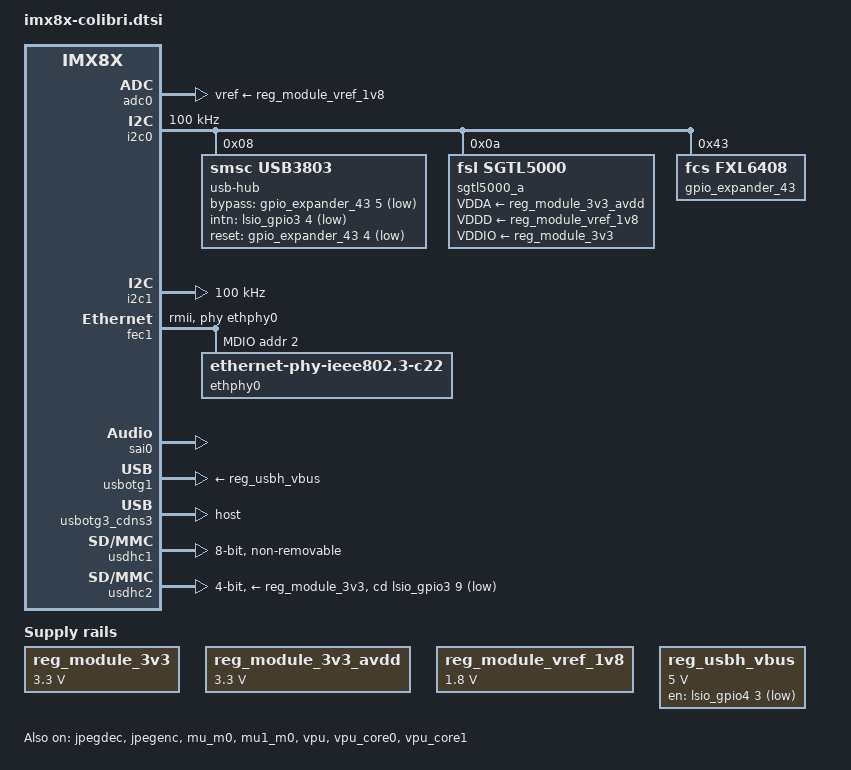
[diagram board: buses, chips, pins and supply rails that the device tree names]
// SPDX-License-Identifier: GPL-2.0-or-later OR MIT
/*
 * Copyright 2019 Toradex
 */

/ {
	chosen {
		stdout-path = &lpuart3;
	};

	colibri_gpio_keys: gpio-keys {
		compatible = "gpio-keys";
		pinctrl-names = "default";
		pinctrl-0 = <&pinctrl_gpiokeys>;
		status = "disabled";

		key-wakeup {
			debounce-interval = <10>;
			gpios = <&lsio_gpio3 10 GPIO_ACTIVE_HIGH>;
			label = "Wake-Up";
			linux,code = <KEY_WAKEUP>;
			wakeup-source;
		};
	};

	extcon_usbc_det: usbc-det {
		compatible = "linux,extcon-usb-gpio";
		pinctrl-names = "default";
		pinctrl-0 = <&pinctrl_usbc_det>;
		id-gpios = <&lsio_gpio5 9 GPIO_ACTIVE_HIGH>;
		status = "disabled";
	};

	reg_module_3v3: regulator-module-3v3 {
		compatible = "regulator-fixed";
		regulator-name = "+V3.3";
		regulator-min-microvolt = <3300000>;
		regulator-max-microvolt = <3300000>;
	};

	reg_module_3v3_avdd: regulator-module-3v3-avdd {
		compatible = "regulator-fixed";
		regulator-max-microvolt = <3300000>;
		regulator-min-microvolt = <3300000>;
		regulator-name = "+V3.3_AVDD_AUDIO";
	};

	reg_module_vref_1v8: regulator-module-vref-1v8 {
		compatible = "regulator-fixed";
		regulator-max-microvolt = <1800000>;
		regulator-min-microvolt = <1800000>;
		regulator-name = "vref-1v8";
	};

	reg_usbh_vbus: regulator-usbh-vbus {
		compatible = "regulator-fixed";
		pinctrl-names = "default";
		pinctrl-0 = <&pinctrl_usbh1_reg>;
		gpio = <&lsio_gpio4 3 GPIO_ACTIVE_LOW>;
		regulator-always-on;
		regulator-max-microvolt = <5000000>;
		regulator-min-microvolt = <5000000>;
		regulator-name = "usbh_vbus";
	};

	sound-card {
		compatible = "simple-audio-card";
		simple-audio-card,bitclock-master = <&dailink_master>;
		simple-audio-card,format = "i2s";
		simple-audio-card,frame-master = <&dailink_master>;
		simple-audio-card,name = "colibri-imx8x";

		dailink_master: simple-audio-card,codec {
			clocks = <&mclkout0_lpcg IMX_LPCG_CLK_0>;
			sound-dai = <&sgtl5000_a>;
		};

		simple-audio-card,cpu {
			sound-dai = <&sai0>;
		};
	};
};

/* Colibri Analogue Inputs */
&adc0 {
	pinctrl-names = "default";
	pinctrl-0 = <&pinctrl_adc0>;
	vref-supply = <&reg_module_vref_1v8>;
};

/* Colibri PWM_A */
&adma_pwm {
	pinctrl-names = "default";
	pinctrl-0 = <&pinctrl_pwm_a>;
};

&cpu_alert0 {
	hysteresis = <2000>;
	temperature = <90000>;
	type = "passive";
};

&cpu_crit0 {
	hysteresis = <2000>;
	temperature = <105000>;
	type = "critical";
};

&enet0_lpcg {
	clocks = <&clk IMX_SC_R_ENET_0 IMX_SC_PM_CLK_PER>,
		 <&clk IMX_SC_R_ENET_0 IMX_SC_PM_CLK_PER>,
		 <&conn_axi_clk>,
		 <&clk IMX_SC_R_ENET_0 IMX_SC_C_DISABLE_50>,
		 <&conn_ipg_clk>,
		 <&conn_ipg_clk>;
	clock-output-names = "enet0_lpcg_timer_clk",
			     "enet0_lpcg_txc_sampling_clk",
			     "enet0_lpcg_ahb_clk",
			     "enet0_lpcg_ref_50mhz_clk",
			     "enet0_lpcg_ipg_clk",
			     "enet0_lpcg_ipg_s_clk";
};

/* On-module I2C */
&i2c0 {
	#address-cells = <1>;
	#size-cells = <0>;
	clock-frequency = <100000>;
	pinctrl-names = "default";
	pinctrl-0 = <&pinctrl_i2c0>, <&pinctrl_sgtl5000_usb_clk>;
	status = "okay";

	/* USB HUB USB3803 */
	usb-hub@8 {
		compatible = "smsc,usb3803";
		reg = <0x8>;
		assigned-clocks = <&clk IMX_SC_R_AUDIO_PLL_0 IMX_SC_PM_CLK_PLL>,
				  <&clk IMX_SC_R_AUDIO_PLL_0 IMX_SC_PM_CLK_SLV_BUS>,
				  <&clk IMX_SC_R_AUDIO_PLL_0 IMX_SC_PM_CLK_MST_BUS>,
				  <&mclkout0_lpcg IMX_LPCG_CLK_0>;
		assigned-clock-rates = <786432000>, <49152000>, <12000000>, <12000000>;
		pinctrl-names = "default";
		pinctrl-0 = <&pinctrl_usb3503a>;
		bypass-gpios = <&gpio_expander_43 5 GPIO_ACTIVE_LOW>;
		clocks = <&mclkout0_lpcg IMX_LPCG_CLK_0>;
		clock-names = "refclk";
		disabled-ports = <2>;
		initial-mode = <1>;
		intn-gpios = <&lsio_gpio3 4 GPIO_ACTIVE_LOW>;
		reset-gpios = <&gpio_expander_43 4 GPIO_ACTIVE_LOW>;
	};

	sgtl5000_a: audio-codec@a {
		compatible = "fsl,sgtl5000";
		reg = <0xa>;
		#sound-dai-cells = <0>;
		assigned-clocks = <&clk IMX_SC_R_AUDIO_PLL_0 IMX_SC_PM_CLK_PLL>,
				  <&clk IMX_SC_R_AUDIO_PLL_0 IMX_SC_PM_CLK_SLV_BUS>,
				  <&clk IMX_SC_R_AUDIO_PLL_0 IMX_SC_PM_CLK_MST_BUS>,
				  <&mclkout0_lpcg IMX_LPCG_CLK_0>;
		assigned-clock-rates = <786432000>, <49152000>, <12000000>, <12000000>;
		clocks = <&mclkout0_lpcg IMX_LPCG_CLK_0>;
		VDDA-supply = <&reg_module_3v3_avdd>;
		VDDD-supply = <&reg_module_vref_1v8>;
		VDDIO-supply = <&reg_module_3v3>;
	};

	/* Touch controller */
	touchscreen@2c {
		compatible = "adi,ad7879-1";
		pinctrl-names = "default";
		pinctrl-0 = <&pinctrl_ad7879_int>;
		reg = <0x2c>;
		interrupt-parent = <&lsio_gpio3>;
		interrupts = <5 IRQ_TYPE_EDGE_FALLING>;
		touchscreen-max-pressure = <4096>;
		adi,resistance-plate-x = <120>;
		adi,first-conversion-delay = /bits/ 8 <3>;
		adi,acquisition-time = /bits/ 8 <1>;
		adi,median-filter-size = /bits/ 8 <2>;
		adi,averaging = /bits/ 8 <1>;
		adi,conversion-interval = /bits/ 8 <255>;
		status = "disabled";
	};

	gpio_expander_43: gpio@43 {
		compatible = "fcs,fxl6408";
		reg = <0x43>;
		gpio-controller;
		#gpio-cells = <2>;
		gpio-line-names = "Wi-Fi_W_DISABLE",
				  "Wi-Fi_WKUP_WLAN",
				  "PWR_EN_+V3.3_WiFi_N",
				  "PCIe_REF_CLK_EN",
				  "USB_RESET_N",
				  "USB_BYPASS_N",
				  "Wi-Fi_PDn",
				  "Wi-Fi_WKUP_BT";
	};
};

/* TODO i2c lvds0 accessible on FFC (X2) */

/* TODO i2c lvds1 accessible on FFC (X3) */

/* Colibri I2C */
&i2c1 {
	#address-cells = <1>;
	#size-cells = <0>;
	clock-frequency = <100000>;
	pinctrl-names = "default";
	pinctrl-0 = <&pinctrl_i2c1>;
};

&jpegdec {
	status = "okay";
};

&jpegenc {
	status = "okay";
};

/* TODO Parallel RRB */

/* Colibri UART_B */
&lpuart0 {
	pinctrl-names = "default";
	pinctrl-0 = <&pinctrl_lpuart0>;
};

/* Colibri UART_C */
&lpuart2 {
	pinctrl-names = "default";
	pinctrl-0 = <&pinctrl_lpuart2>;
};

/* Colibri UART_A */
&lpuart3 {
	pinctrl-names = "default";
	pinctrl-0 = <&pinctrl_lpuart3>, <&pinctrl_lpuart3_ctrl>;
};

/* Colibri FastEthernet */
&fec1 {
	pinctrl-names = "default", "sleep";
	pinctrl-0 = <&pinctrl_fec1>;
	pinctrl-1 = <&pinctrl_fec1_sleep>;
	phy-mode = "rmii";
	phy-handle = <&ethphy0>;
	fsl,magic-packet;

	mdio {
		#address-cells = <1>;
		#size-cells = <0>;

		ethphy0: ethernet-phy@2 {
			compatible = "ethernet-phy-ieee802.3-c22";
			max-speed = <100>;
			reg = <2>;
		};
	};
};

/* Colibri SPI */
&lpspi2 {
	pinctrl-names = "default";
	pinctrl-0 = <&pinctrl_lpspi2>;
	cs-gpios = <&lsio_gpio1 0 GPIO_ACTIVE_LOW>;
};

&lsio_gpio0 {
	gpio-line-names = "",
			  "SODIMM_70",
			  "SODIMM_60",
			  "SODIMM_58",
			  "SODIMM_78",
			  "SODIMM_72",
			  "SODIMM_80",
			  "SODIMM_46",
			  "SODIMM_62",
			  "SODIMM_48",
			  "SODIMM_74",
			  "SODIMM_50",
			  "SODIMM_52",
			  "SODIMM_54",
			  "SODIMM_66",
			  "SODIMM_64",
			  "SODIMM_68",
			  "",
			  "",
			  "SODIMM_82",
			  "SODIMM_56",
			  "SODIMM_28",
			  "SODIMM_30",
			  "",
			  "SODIMM_61",
			  "SODIMM_103",
			  "",
			  "",
			  "",
			  "SODIMM_25",
			  "SODIMM_27",
			  "SODIMM_100";
};

&lsio_gpio1 {
	gpio-line-names = "SODIMM_86",
			  "SODIMM_92",
			  "SODIMM_90",
			  "SODIMM_88",
			  "",
			  "",
			  "",
			  "SODIMM_59",
			  "",
			  "SODIMM_6",
			  "SODIMM_8",
			  "",
			  "",
			  "SODIMM_2",
			  "SODIMM_4",
			  "SODIMM_34",
			  "SODIMM_32",
			  "SODIMM_63",
			  "SODIMM_55",
			  "SODIMM_33",
			  "SODIMM_35",
			  "SODIMM_36",
			  "SODIMM_38",
			  "SODIMM_21",
			  "SODIMM_19",
			  "SODIMM_140",
			  "SODIMM_142",
			  "SODIMM_196",
			  "SODIMM_194",
			  "SODIMM_186",
			  "SODIMM_188",
			  "SODIMM_138";
};

&lsio_gpio2 {
	gpio-line-names = "SODIMM_23",
			  "",
			  "",
			  "SODIMM_144";
};

&lsio_gpio3 {
	gpio-line-names = "SODIMM_96",
			  "SODIMM_75",
			  "SODIMM_37",
			  "SODIMM_29",
			  "",
			  "",
			  "",
			  "",
			  "",
			  "SODIMM_43",
			  "SODIMM_45",
			  "SODIMM_69",
			  "SODIMM_71",
			  "SODIMM_73",
			  "SODIMM_77",
			  "SODIMM_89",
			  "SODIMM_93",
			  "SODIMM_95",
			  "SODIMM_99",
			  "SODIMM_105",
			  "SODIMM_107",
			  "SODIMM_98",
			  "SODIMM_102",
			  "SODIMM_104",
			  "SODIMM_106";
};

&lsio_gpio4 {
	gpio-line-names = "",
			  "",
			  "",
			  "SODIMM_129",
			  "SODIMM_133",
			  "SODIMM_127",
			  "SODIMM_131",
			  "",
			  "",
			  "",
			  "",
			  "",
			  "",
			  "",
			  "",
			  "",
			  "",
			  "",
			  "",
			  "SODIMM_44",
			  "",
			  "SODIMM_76",
			  "SODIMM_31",
			  "SODIMM_47",
			  "SODIMM_190",
			  "SODIMM_192",
			  "SODIMM_49",
			  "SODIMM_51",
			  "SODIMM_53";
};

&lsio_gpio5 {
	gpio-line-names = "",
			  "SODIMM_57",
			  "SODIMM_65",
			  "SODIMM_85",
			  "",
			  "",
			  "",
			  "",
			  "SODIMM_135",
			  "SODIMM_137",
			  "UNUSABLE_SODIMM_180",
			  "UNUSABLE_SODIMM_184";
};

/* Colibri PWM_B */
&lsio_pwm0 {
	#pwm-cells = <3>;
	pinctrl-0 = <&pinctrl_pwm_b>;
	pinctrl-names = "default";
};

/* Colibri PWM_C */
&lsio_pwm1 {
	#pwm-cells = <3>;
	pinctrl-0 = <&pinctrl_pwm_c>;
	pinctrl-names = "default";
};

/* Colibri PWM_D */
&lsio_pwm2 {
	#pwm-cells = <3>;
	pinctrl-0 = <&pinctrl_pwm_d>;
	pinctrl-names = "default";
};

/* VPU Mailboxes */
&mu_m0 {
	status="okay";
};

&mu1_m0 {
	status="okay";
};

/* TODO MIPI CSI */

/* TODO MIPI DSI with DSI-to-HDMI bridge lt8912 */

/* TODO on-module PCIe for Wi-Fi */

/* On-module I2S */
&sai0 {
	#sound-dai-cells = <0>;
	pinctrl-names = "default";
	pinctrl-0 = <&pinctrl_sai0>;
	status = "okay";
};

&thermal_zones {
	pmic-thermal {
		polling-delay-passive = <250>;
		polling-delay = <2000>;
		thermal-sensors = <&tsens IMX_SC_R_PMIC_0>;

		trips {
			pmic_alert0: trip0 {
				temperature = <110000>;
				hysteresis = <2000>;
				type = "passive";
			};

			pmic_crit0: trip1 {
				temperature = <125000>;
				hysteresis = <2000>;
				type = "critical";
			};
		};

		cooling-maps {
			pmic_cooling_map0: map0 {
				trip = <&pmic_alert0>;
				cooling-device = <&A35_0 THERMAL_NO_LIMIT THERMAL_NO_LIMIT>,
						 <&A35_1 THERMAL_NO_LIMIT THERMAL_NO_LIMIT>,
						 <&A35_2 THERMAL_NO_LIMIT THERMAL_NO_LIMIT>,
						 <&A35_3 THERMAL_NO_LIMIT THERMAL_NO_LIMIT>;
			};
		};
	};
};

&usbotg1 {
	adp-disable;
	disable-over-current;
	extcon = <&extcon_usbc_det &extcon_usbc_det>;
	hnp-disable;
	power-active-high;
	srp-disable;
	vbus-supply = <&reg_usbh_vbus>;
};

&usbotg3_cdns3 {
	dr_mode = "host";
};

/* On-module eMMC */
&usdhc1 {
	bus-width = <8>;
	non-removable;
	no-sd;
	no-sdio;
	pinctrl-names = "default", "state_100mhz", "state_200mhz";
	pinctrl-0 = <&pinctrl_usdhc1>;
	pinctrl-1 = <&pinctrl_usdhc1_100mhz>;
	pinctrl-2 = <&pinctrl_usdhc1_200mhz>;
	status = "okay";
};

/* Colibri SD/MMC Card */
&usdhc2 {
	bus-width = <4>;
	cd-gpios = <&lsio_gpio3 9 GPIO_ACTIVE_LOW>;
	vmmc-supply = <&reg_module_3v3>;
	pinctrl-names = "default", "state_100mhz", "state_200mhz", "sleep";
	pinctrl-0 = <&pinctrl_usdhc2>, <&pinctrl_usdhc2_gpio>;
	pinctrl-1 = <&pinctrl_usdhc2_100mhz>, <&pinctrl_usdhc2_gpio>;
	pinctrl-2 = <&pinctrl_usdhc2_200mhz>, <&pinctrl_usdhc2_gpio>;
	pinctrl-3 = <&pinctrl_usdhc2_sleep>, <&pinctrl_usdhc2_gpio_sleep>;
	disable-wp;
	no-1-8-v;
};

&vpu {
	compatible = "nxp,imx8qxp-vpu";
	status = "okay";
};

/* VPU Decoder */
&vpu_core0 {
	reg = <0x2d040000 0x10000>;
	memory-region = <&decoder_boot>, <&decoder_rpc>;
	status = "okay";
};

/* VPU Encoder */
&vpu_core1 {
	reg = <0x2d050000 0x10000>;
	memory-region = <&encoder_boot>, <&encoder_rpc>;
	status = "okay";
};

&iomuxc {
	/* On-module touch pen-down interrupt */
	pinctrl_ad7879_int: ad7879intgrp {
		fsl,pins = <IMX8QXP_MIPI_CSI0_I2C0_SCL_LSIO_GPIO3_IO05	0x21>;
	};

	/* Colibri Analogue Inputs */
	pinctrl_adc0: adc0grp {
		fsl,pins = <IMX8QXP_ADC_IN0_ADMA_ADC_IN0			0x60>,		/* SODIMM   8 */
			   <IMX8QXP_ADC_IN1_ADMA_ADC_IN1			0x60>,		/* SODIMM   6 */
			   <IMX8QXP_ADC_IN4_ADMA_ADC_IN4			0x60>,		/* SODIMM   4 */
			   <IMX8QXP_ADC_IN5_ADMA_ADC_IN5			0x60>;		/* SODIMM   2 */
	};

	/* Atmel MXT touchsceen + Capacitive Touch Adapter */
	/* NOTE: This pingroup conflicts with pingroups
	 * pinctrl_pwm_b/pinctrl_pwm_c. Don't enable them
	 * simultaneously.
	 */
	pinctrl_atmel_adap: atmeladaptergrp {
		fsl,pins = <IMX8QXP_UART1_RX_LSIO_GPIO0_IO22			0x21>,		/* SODIMM  30 */
			   <IMX8QXP_UART1_TX_LSIO_GPIO0_IO21			0x4000021>;	/* SODIMM  28 */
	};

	/* Atmel MXT touchsceen + boards with built-in Capacitive Touch Connector */
	pinctrl_atmel_conn: atmelconnectorgrp {
		fsl,pins = <IMX8QXP_QSPI0B_DATA2_LSIO_GPIO3_IO20		0x4000021>,	/* SODIMM 107 */
			   <IMX8QXP_QSPI0B_SS1_B_LSIO_GPIO3_IO24		0x21>;		/* SODIMM 106 */
	};

	pinctrl_can_int: canintgrp {
		fsl,pins = <IMX8QXP_QSPI0A_DQS_LSIO_GPIO3_IO13			0x40>;		/* SODIMM  73 */
	};

	pinctrl_csi_ctl: csictlgrp {
		fsl,pins = <IMX8QXP_QSPI0A_SS0_B_LSIO_GPIO3_IO14		0x20>,		/* SODIMM  77 */
			   <IMX8QXP_QSPI0A_SS1_B_LSIO_GPIO3_IO15		0x20>;		/* SODIMM  89 */
	};

	pinctrl_csi_mclk: csimclkgrp {
		fsl,pins = <IMX8QXP_CSI_MCLK_CI_PI_MCLK				0xC0000041>;	/* SODIMM  75 / X3-12 */
	};

	pinctrl_ext_io0: extio0grp {
		fsl,pins = <IMX8QXP_ENET0_RGMII_RXD3_LSIO_GPIO5_IO08		0x06000040>;	/* SODIMM 135 */
	};

	/* Colibri Ethernet: On-module 100Mbps PHY Micrel KSZ8041 */
	pinctrl_fec1: fec1grp {
		fsl,pins = <IMX8QXP_ENET0_MDC_CONN_ENET0_MDC			0x06000020>,
			   <IMX8QXP_ENET0_MDIO_CONN_ENET0_MDIO			0x06000020>,
			   <IMX8QXP_ENET0_RGMII_TX_CTL_CONN_ENET0_RGMII_TX_CTL	0x61>,
			   <IMX8QXP_ENET0_RGMII_TXC_CONN_ENET0_RCLK50M_OUT	0x06000061>,
			   <IMX8QXP_ENET0_RGMII_TXD0_CONN_ENET0_RGMII_TXD0	0x61>,
			   <IMX8QXP_ENET0_RGMII_TXD1_CONN_ENET0_RGMII_TXD1	0x61>,
			   <IMX8QXP_ENET0_RGMII_RX_CTL_CONN_ENET0_RGMII_RX_CTL	0x61>,
			   <IMX8QXP_ENET0_RGMII_RXD0_CONN_ENET0_RGMII_RXD0	0x61>,
			   <IMX8QXP_ENET0_RGMII_RXD1_CONN_ENET0_RGMII_RXD1	0x61>,
			   <IMX8QXP_ENET0_RGMII_RXD2_CONN_ENET0_RMII_RX_ER	0x61>;
	};

	pinctrl_fec1_sleep: fec1slpgrp {
		fsl,pins = <IMX8QXP_ENET0_MDC_LSIO_GPIO5_IO11			0x06000041>,
			   <IMX8QXP_ENET0_MDIO_LSIO_GPIO5_IO10			0x06000041>,
			   <IMX8QXP_ENET0_RGMII_TX_CTL_LSIO_GPIO4_IO30		0x41>,
			   <IMX8QXP_ENET0_RGMII_TXC_LSIO_GPIO4_IO29		0x41>,
			   <IMX8QXP_ENET0_RGMII_TXD0_LSIO_GPIO4_IO31		0x41>,
			   <IMX8QXP_ENET0_RGMII_TXD1_LSIO_GPIO5_IO00		0x41>,
			   <IMX8QXP_ENET0_RGMII_RX_CTL_LSIO_GPIO5_IO04		0x41>,
			   <IMX8QXP_ENET0_RGMII_RXD0_LSIO_GPIO5_IO05		0x41>,
			   <IMX8QXP_ENET0_RGMII_RXD1_LSIO_GPIO5_IO06		0x41>,
			   <IMX8QXP_ENET0_RGMII_RXD2_LSIO_GPIO5_IO07		0x41>;
	};

	/* Colibri optional CAN on UART_B RTS/CTS */
	pinctrl_flexcan1: flexcan0grp {
		fsl,pins = <IMX8QXP_FLEXCAN0_TX_ADMA_FLEXCAN0_TX		0x21>,		/* SODIMM  32 */
			   <IMX8QXP_FLEXCAN0_RX_ADMA_FLEXCAN0_RX		0x21>;		/* SODIMM  34 */
	};

	/* Colibri optional CAN on PS2 */
	pinctrl_flexcan2: flexcan1grp {
		fsl,pins = <IMX8QXP_FLEXCAN1_TX_ADMA_FLEXCAN1_TX		0x21>,		/* SODIMM  55 */
			   <IMX8QXP_FLEXCAN1_RX_ADMA_FLEXCAN1_RX		0x21>;		/* SODIMM  63 */
	};

	/* Colibri optional CAN on UART_A TXD/RXD */
	pinctrl_flexcan3: flexcan2grp {
		fsl,pins = <IMX8QXP_FLEXCAN2_TX_ADMA_FLEXCAN2_TX		0x21>,		/* SODIMM  35 */
			   <IMX8QXP_FLEXCAN2_RX_ADMA_FLEXCAN2_RX		0x21>;		/* SODIMM  33 */
	};

	/* Colibri LCD Back-Light GPIO */
	pinctrl_gpio_bl_on: gpioblongrp {
		fsl,pins = <IMX8QXP_QSPI0A_DATA3_LSIO_GPIO3_IO12		0x60>;		/* SODIMM  71 */
	};

	/* HDMI Hot Plug Detect on FFC (X2) */
	pinctrl_gpio_hpd: gpiohpdgrp {
		fsl,pins = <IMX8QXP_MIPI_DSI1_GPIO0_00_LSIO_GPIO1_IO31		0x20>;		/* SODIMM 138 */
	};

	pinctrl_gpiokeys: gpiokeysgrp {
		fsl,pins = <IMX8QXP_QSPI0A_DATA1_LSIO_GPIO3_IO10		0x06700041>;	/* SODIMM  45 */
	};

	pinctrl_hog0: hog0grp {
		fsl,pins = <IMX8QXP_CSI_D07_CI_PI_D09				0x61>,		/* SODIMM  65 */
			   <IMX8QXP_QSPI0A_DATA2_LSIO_GPIO3_IO11		0x20>,		/* SODIMM  69 */
			   <IMX8QXP_SAI0_TXC_LSIO_GPIO0_IO26			0x20>,		/* SODIMM  79 */
			   <IMX8QXP_CSI_D02_CI_PI_D04				0x61>,		/* SODIMM  79 */
			   <IMX8QXP_ENET0_RGMII_RXC_LSIO_GPIO5_IO03		0x06000020>,	/* SODIMM  85 */
			   <IMX8QXP_CSI_D06_CI_PI_D08				0x61>,		/* SODIMM  85 */
			   <IMX8QXP_QSPI0B_SCLK_LSIO_GPIO3_IO17			0x20>,		/* SODIMM  95 */
			   <IMX8QXP_SAI0_RXD_LSIO_GPIO0_IO27			0x20>,		/* SODIMM  97 */
			   <IMX8QXP_CSI_D03_CI_PI_D05				0x61>,		/* SODIMM  97 */
			   <IMX8QXP_QSPI0B_DATA0_LSIO_GPIO3_IO18		0x20>,		/* SODIMM  99 */
			   <IMX8QXP_SAI0_TXFS_LSIO_GPIO0_IO28			0x20>,		/* SODIMM 101 */
			   <IMX8QXP_CSI_D00_CI_PI_D02				0x61>,		/* SODIMM 101 */
			   <IMX8QXP_SAI0_TXD_LSIO_GPIO0_IO25			0x20>,		/* SODIMM 103 */
			   <IMX8QXP_CSI_D01_CI_PI_D03				0x61>,		/* SODIMM 103 */
			   <IMX8QXP_QSPI0B_DATA1_LSIO_GPIO3_IO19		0x20>,		/* SODIMM 105 */
			   <IMX8QXP_USB_SS3_TC2_LSIO_GPIO4_IO05			0x20>,		/* SODIMM 127 */
			   <IMX8QXP_USB_SS3_TC3_LSIO_GPIO4_IO06			0x20>,		/* SODIMM 131 */
			   <IMX8QXP_USB_SS3_TC1_LSIO_GPIO4_IO04			0x20>,		/* SODIMM 133 */
			   <IMX8QXP_CSI_PCLK_LSIO_GPIO3_IO00			0x20>,		/* SODIMM  96 */
			   <IMX8QXP_QSPI0B_DATA3_LSIO_GPIO3_IO21		0x20>,		/* SODIMM  98 */
			   <IMX8QXP_SAI1_RXFS_LSIO_GPIO0_IO31			0x20>,		/* SODIMM 100 */
			   <IMX8QXP_QSPI0B_DQS_LSIO_GPIO3_IO22			0x20>,		/* SODIMM 102 */
			   <IMX8QXP_QSPI0B_SS0_B_LSIO_GPIO3_IO23		0x20>;		/* SODIMM 104 */
	};

	pinctrl_hog1: hog1grp {
		fsl,pins = <IMX8QXP_QSPI0A_SCLK_LSIO_GPIO3_IO16			0x20>;		/* SODIMM  93 */
	};

	pinctrl_hog2: hog2grp {
		fsl,pins = <IMX8QXP_CSI_MCLK_LSIO_GPIO3_IO01			0x20>;		/* SODIMM  75 */
	};

	/*
	 * This pin is used in the SCFW as a UART. Using it from
	 * Linux would require rewritting the SCFW board file.
	 */
	pinctrl_hog_scfw: hogscfwgrp {
		fsl,pins = <IMX8QXP_SCU_GPIO0_00_LSIO_GPIO2_IO03		0x20>;		/* SODIMM 144 */
	};

	/* On Module I2C */
	pinctrl_i2c0: i2c0grp {
		fsl,pins = <IMX8QXP_MIPI_CSI0_GPIO0_00_ADMA_I2C0_SCL		0x06000021>,
			   <IMX8QXP_MIPI_CSI0_GPIO0_01_ADMA_I2C0_SDA		0x06000021>;
	};

	/* MIPI DSI I2C accessible on SODIMM (X1) and FFC (X2) */
	pinctrl_i2c0_mipi_lvds0: i2c0mipilvds0grp {
		fsl,pins = <IMX8QXP_MIPI_DSI0_I2C0_SCL_MIPI_DSI0_I2C0_SCL	0xc6000020>,	/* SODIMM 140 */
			   <IMX8QXP_MIPI_DSI0_I2C0_SDA_MIPI_DSI0_I2C0_SDA	0xc6000020>;	/* SODIMM 142 */
	};

	/* MIPI CSI I2C accessible on SODIMM (X1) and FFC (X3) */
	pinctrl_i2c0_mipi_lvds1: i2c0mipilvds1grp {
		fsl,pins = <IMX8QXP_MIPI_DSI1_I2C0_SCL_MIPI_DSI1_I2C0_SCL	0xc6000020>,	/* SODIMM 186 */
			   <IMX8QXP_MIPI_DSI1_I2C0_SDA_MIPI_DSI1_I2C0_SDA	0xc6000020>;	/* SODIMM 188 */
	};

	/* Colibri I2C */
	pinctrl_i2c1: i2c1grp {
		fsl,pins = <IMX8QXP_MIPI_DSI0_GPIO0_00_ADMA_I2C1_SCL		0x06000021>,	/* SODIMM 196 */
			   <IMX8QXP_MIPI_DSI0_GPIO0_01_ADMA_I2C1_SDA		0x06000021>;	/* SODIMM 194 */
	};

	/* Colibri Parallel RGB LCD Interface */
	pinctrl_lcdif: lcdifgrp {
		fsl,pins = <IMX8QXP_MCLK_OUT0_ADMA_LCDIF_CLK			0x60>,		/* SODIMM  56 */
			   <IMX8QXP_SPI3_CS0_ADMA_LCDIF_HSYNC			0x60>,		/* SODIMM  68 */
			   <IMX8QXP_MCLK_IN0_ADMA_LCDIF_VSYNC			0x60>,		/* SODIMM  82 */
			   <IMX8QXP_MCLK_IN1_ADMA_LCDIF_EN			0x40>,		/* SODIMM  44 */
			   <IMX8QXP_USDHC1_RESET_B_LSIO_GPIO4_IO19		0x40>,		/* SODIMM  44 */
			   <IMX8QXP_ESAI0_FSR_ADMA_LCDIF_D00			0x60>,		/* SODIMM  76 */
			   <IMX8QXP_USDHC1_WP_LSIO_GPIO4_IO21			0x60>,		/* SODIMM  76 */
			   <IMX8QXP_ESAI0_FST_ADMA_LCDIF_D01			0x60>,		/* SODIMM  70 */
			   <IMX8QXP_ESAI0_SCKR_ADMA_LCDIF_D02			0x60>,		/* SODIMM  60 */
			   <IMX8QXP_ESAI0_SCKT_ADMA_LCDIF_D03			0x60>,		/* SODIMM  58 */
			   <IMX8QXP_ESAI0_TX0_ADMA_LCDIF_D04			0x60>,		/* SODIMM  78 */
			   <IMX8QXP_ESAI0_TX1_ADMA_LCDIF_D05			0x60>,		/* SODIMM  72 */
			   <IMX8QXP_ESAI0_TX2_RX3_ADMA_LCDIF_D06		0x60>,		/* SODIMM  80 */
			   <IMX8QXP_ESAI0_TX3_RX2_ADMA_LCDIF_D07		0x60>,		/* SODIMM  46 */
			   <IMX8QXP_ESAI0_TX4_RX1_ADMA_LCDIF_D08		0x60>,		/* SODIMM  62 */
			   <IMX8QXP_ESAI0_TX5_RX0_ADMA_LCDIF_D09		0x60>,		/* SODIMM  48 */
			   <IMX8QXP_SPDIF0_RX_ADMA_LCDIF_D10			0x60>,		/* SODIMM  74 */
			   <IMX8QXP_SPDIF0_TX_ADMA_LCDIF_D11			0x60>,		/* SODIMM  50 */
			   <IMX8QXP_SPDIF0_EXT_CLK_ADMA_LCDIF_D12		0x60>,		/* SODIMM  52 */
			   <IMX8QXP_SPI3_SCK_ADMA_LCDIF_D13			0x60>,		/* SODIMM  54 */
			   <IMX8QXP_SPI3_SDO_ADMA_LCDIF_D14			0x60>,		/* SODIMM  66 */
			   <IMX8QXP_SPI3_SDI_ADMA_LCDIF_D15			0x60>,		/* SODIMM  64 */
			   <IMX8QXP_SPI3_CS1_ADMA_LCDIF_D16			0x60>,		/* SODIMM  57 */
			   <IMX8QXP_ENET0_RGMII_TXD2_LSIO_GPIO5_IO01		0x60>,		/* SODIMM  57 */
			   <IMX8QXP_UART1_CTS_B_ADMA_LCDIF_D17			0x60>;		/* SODIMM  61 */
	};

	/* Colibri SPI */
	pinctrl_lpspi2: lpspi2grp {
		fsl,pins = <IMX8QXP_SPI2_CS0_LSIO_GPIO1_IO00			0x21>,		/* SODIMM  86 */
			   <IMX8QXP_SPI2_SDO_ADMA_SPI2_SDO			0x06000040>,	/* SODIMM  92 */
			   <IMX8QXP_SPI2_SDI_ADMA_SPI2_SDI			0x06000040>,	/* SODIMM  90 */
			   <IMX8QXP_SPI2_SCK_ADMA_SPI2_SCK			0x06000040>;	/* SODIMM  88 */
	};

	pinctrl_lpspi2_cs2: lpspi2cs2grp {
		fsl,pins = <IMX8QXP_ENET0_RGMII_TXD3_LSIO_GPIO5_IO02		0x21>;		/* SODIMM  65 */
	};

	/* Colibri UART_B */
	pinctrl_lpuart0: lpuart0grp {
		fsl,pins = <IMX8QXP_UART0_RX_ADMA_UART0_RX			0x06000020>,	/* SODIMM  36 */
			   <IMX8QXP_UART0_TX_ADMA_UART0_TX			0x06000020>,	/* SODIMM  38 */
			   <IMX8QXP_FLEXCAN0_RX_ADMA_UART0_RTS_B		0x06000020>,	/* SODIMM  34 */
			   <IMX8QXP_FLEXCAN0_TX_ADMA_UART0_CTS_B		0x06000020>;	/* SODIMM  32 */
	};

	/* Colibri UART_C */
	pinctrl_lpuart2: lpuart2grp {
		fsl,pins = <IMX8QXP_UART2_RX_ADMA_UART2_RX			0x06000020>,	/* SODIMM  19 */
			   <IMX8QXP_UART2_TX_ADMA_UART2_TX			0x06000020>;	/* SODIMM  21 */
	};

	/* Colibri UART_A */
	pinctrl_lpuart3: lpuart3grp {
		fsl,pins = <IMX8QXP_FLEXCAN2_RX_ADMA_UART3_RX			0x06000020>,	/* SODIMM  33 */
			   <IMX8QXP_FLEXCAN2_TX_ADMA_UART3_TX			0x06000020>;	/* SODIMM  35 */
	};

	/* Colibri UART_A Control */
	pinctrl_lpuart3_ctrl: lpuart3ctrlgrp {
		fsl,pins = <IMX8QXP_MIPI_DSI1_GPIO0_01_LSIO_GPIO2_IO00		0x20>,		/* SODIMM  23 */
			   <IMX8QXP_SAI1_RXD_LSIO_GPIO0_IO29			0x20>,		/* SODIMM  25 */
			   <IMX8QXP_SAI1_RXC_LSIO_GPIO0_IO30			0x20>,		/* SODIMM  27 */
			   <IMX8QXP_CSI_RESET_LSIO_GPIO3_IO03			0x20>,		/* SODIMM  29 */
			   <IMX8QXP_USDHC1_CD_B_LSIO_GPIO4_IO22			0x20>,		/* SODIMM  31 */
			   <IMX8QXP_CSI_EN_LSIO_GPIO3_IO02			0x20>;		/* SODIMM  37 */
	};

	/* On module wifi module */
	pinctrl_pcieb: pciebgrp {
		fsl,pins = <IMX8QXP_PCIE_CTRL0_CLKREQ_B_LSIO_GPIO4_IO01		0x04000061>,	/* SODIMM 178 */
			   <IMX8QXP_PCIE_CTRL0_WAKE_B_LSIO_GPIO4_IO02		0x04000061>,	/* SODIMM  94 */
			   <IMX8QXP_PCIE_CTRL0_PERST_B_LSIO_GPIO4_IO00		0x60>;		/* SODIMM  81 */
	};

	/* Colibri PWM_A */
	pinctrl_pwm_a: pwmagrp {
	/* both pins are connected together, reserve the unused CSI_D05 */
		fsl,pins = <IMX8QXP_CSI_D05_CI_PI_D07				0x61>,		/* SODIMM  59 */
			   <IMX8QXP_SPI0_CS1_ADMA_LCD_PWM0_OUT			0x60>;		/* SODIMM  59 */
	};

	/* Colibri PWM_B */
	pinctrl_pwm_b: pwmbgrp {
		fsl,pins = <IMX8QXP_UART1_TX_LSIO_PWM0_OUT			0x60>;		/* SODIMM  28 */
	};

	/* Colibri PWM_C */
	pinctrl_pwm_c: pwmcgrp {
		fsl,pins = <IMX8QXP_UART1_RX_LSIO_PWM1_OUT			0x60>;		/* SODIMM  30 */
	};

	/* Colibri PWM_D */
	pinctrl_pwm_d: pwmdgrp {
	/* both pins are connected together, reserve the unused CSI_D04 */
		fsl,pins = <IMX8QXP_CSI_D04_CI_PI_D06				0x61>,		/* SODIMM  67 */
			   <IMX8QXP_UART1_RTS_B_LSIO_PWM2_OUT			0x60>;		/* SODIMM  67 */
	};

	/* On-module I2S */
	pinctrl_sai0: sai0grp {
		fsl,pins = <IMX8QXP_SPI0_SDI_ADMA_SAI0_TXD			0x06000040>,
			   <IMX8QXP_SPI0_CS0_ADMA_SAI0_RXD			0x06000040>,
			   <IMX8QXP_SPI0_SCK_ADMA_SAI0_TXC			0x06000040>,
			   <IMX8QXP_SPI0_SDO_ADMA_SAI0_TXFS			0x06000040>;
	};

	/* Colibri Audio Analogue Microphone GND */
	pinctrl_sgtl5000: sgtl5000grp {
		fsl,pins = <IMX8QXP_MIPI_CSI0_I2C0_SDA_LSIO_GPIO3_IO06		0x41>;
	};

	/* On-module SGTL5000 clock */
	pinctrl_sgtl5000_usb_clk: sgtl5000usbclkgrp {
		fsl,pins = <IMX8QXP_ADC_IN3_ADMA_ACM_MCLK_OUT0			0x21>;
	};

	/* On-module USB interrupt */
	pinctrl_usb3503a: usb3503agrp {
		fsl,pins = <IMX8QXP_MIPI_CSI0_MCLK_OUT_LSIO_GPIO3_IO04		0x61>;
	};

	/* Colibri USB Client Cable Detect */
	pinctrl_usbc_det: usbcdetgrp {
		fsl,pins = <IMX8QXP_ENET0_REFCLK_125M_25M_LSIO_GPIO5_IO09	0x06000040>;	/* SODIMM 137 */
	};

	/* USB Host Power Enable */
	pinctrl_usbh1_reg: usbh1reggrp {
		fsl,pins = <IMX8QXP_USB_SS3_TC0_LSIO_GPIO4_IO03			0x06000040>;	/* SODIMM 129 */
	};

	/* On-module eMMC */
	pinctrl_usdhc1: usdhc1grp {
		fsl,pins = <IMX8QXP_EMMC0_CLK_CONN_EMMC0_CLK			0x06000041>,
			   <IMX8QXP_EMMC0_CMD_CONN_EMMC0_CMD			0x21>,
			   <IMX8QXP_EMMC0_DATA0_CONN_EMMC0_DATA0		0x21>,
			   <IMX8QXP_EMMC0_DATA1_CONN_EMMC0_DATA1		0x21>,
			   <IMX8QXP_EMMC0_DATA2_CONN_EMMC0_DATA2		0x21>,
			   <IMX8QXP_EMMC0_DATA3_CONN_EMMC0_DATA3		0x21>,
			   <IMX8QXP_EMMC0_DATA4_CONN_EMMC0_DATA4		0x21>,
			   <IMX8QXP_EMMC0_DATA5_CONN_EMMC0_DATA5		0x21>,
			   <IMX8QXP_EMMC0_DATA6_CONN_EMMC0_DATA6		0x21>,
			   <IMX8QXP_EMMC0_DATA7_CONN_EMMC0_DATA7		0x21>,
			   <IMX8QXP_EMMC0_STROBE_CONN_EMMC0_STROBE		0x41>,
			   <IMX8QXP_EMMC0_RESET_B_CONN_EMMC0_RESET_B		0x21>;
	};

	pinctrl_usdhc1_100mhz: usdhc1-100mhzgrp {
		fsl,pins = <IMX8QXP_EMMC0_CLK_CONN_EMMC0_CLK			0x06000041>,
			   <IMX8QXP_EMMC0_CMD_CONN_EMMC0_CMD			0x21>,
			   <IMX8QXP_EMMC0_DATA0_CONN_EMMC0_DATA0		0x21>,
			   <IMX8QXP_EMMC0_DATA1_CONN_EMMC0_DATA1		0x21>,
			   <IMX8QXP_EMMC0_DATA2_CONN_EMMC0_DATA2		0x21>,
			   <IMX8QXP_EMMC0_DATA3_CONN_EMMC0_DATA3		0x21>,
			   <IMX8QXP_EMMC0_DATA4_CONN_EMMC0_DATA4		0x21>,
			   <IMX8QXP_EMMC0_DATA5_CONN_EMMC0_DATA5		0x21>,
			   <IMX8QXP_EMMC0_DATA6_CONN_EMMC0_DATA6		0x21>,
			   <IMX8QXP_EMMC0_DATA7_CONN_EMMC0_DATA7		0x21>,
			   <IMX8QXP_EMMC0_STROBE_CONN_EMMC0_STROBE		0x41>,
			   <IMX8QXP_EMMC0_RESET_B_CONN_EMMC0_RESET_B		0x21>;
	};

	pinctrl_usdhc1_200mhz: usdhc1-200mhzgrp {
		fsl,pins = <IMX8QXP_EMMC0_CLK_CONN_EMMC0_CLK			0x06000041>,
			   <IMX8QXP_EMMC0_CMD_CONN_EMMC0_CMD			0x21>,
			   <IMX8QXP_EMMC0_DATA0_CONN_EMMC0_DATA0		0x21>,
			   <IMX8QXP_EMMC0_DATA1_CONN_EMMC0_DATA1		0x21>,
			   <IMX8QXP_EMMC0_DATA2_CONN_EMMC0_DATA2		0x21>,
			   <IMX8QXP_EMMC0_DATA3_CONN_EMMC0_DATA3		0x21>,
			   <IMX8QXP_EMMC0_DATA4_CONN_EMMC0_DATA4		0x21>,
			   <IMX8QXP_EMMC0_DATA5_CONN_EMMC0_DATA5		0x21>,
			   <IMX8QXP_EMMC0_DATA6_CONN_EMMC0_DATA6		0x21>,
			   <IMX8QXP_EMMC0_DATA7_CONN_EMMC0_DATA7		0x21>,
			   <IMX8QXP_EMMC0_STROBE_CONN_EMMC0_STROBE		0x41>,
			   <IMX8QXP_EMMC0_RESET_B_CONN_EMMC0_RESET_B		0x21>;
	};

	/* Colibri SD/MMC Card Detect */
	pinctrl_usdhc2_gpio: usdhc2gpiogrp {
		fsl,pins = <IMX8QXP_QSPI0A_DATA0_LSIO_GPIO3_IO09		0x06000021>;	/* SODIMM  43 */
	};

	pinctrl_usdhc2_gpio_sleep: usdhc2gpioslpgrp {
		fsl,pins = <IMX8QXP_QSPI0A_DATA0_LSIO_GPIO3_IO09		0x60>;		/* SODIMM  43 */
	};

	/* Colibri SD/MMC Card */
	pinctrl_usdhc2: usdhc2grp {
		fsl,pins = <IMX8QXP_USDHC1_CLK_CONN_USDHC1_CLK			0x06000041>,	/* SODIMM  47 */
			   <IMX8QXP_USDHC1_CMD_CONN_USDHC1_CMD			0x21>,		/* SODIMM 190 */
			   <IMX8QXP_USDHC1_DATA0_CONN_USDHC1_DATA0		0x21>,		/* SODIMM 192 */
			   <IMX8QXP_USDHC1_DATA1_CONN_USDHC1_DATA1		0x21>,		/* SODIMM  49 */
			   <IMX8QXP_USDHC1_DATA2_CONN_USDHC1_DATA2		0x21>,		/* SODIMM  51 */
			   <IMX8QXP_USDHC1_DATA3_CONN_USDHC1_DATA3		0x21>,		/* SODIMM  53 */
			   <IMX8QXP_USDHC1_VSELECT_CONN_USDHC1_VSELECT		0x21>;
	};

	pinctrl_usdhc2_100mhz: usdhc2-100mhzgrp {
		fsl,pins = <IMX8QXP_USDHC1_CLK_CONN_USDHC1_CLK			0x06000041>,	/* SODIMM  47 */
			   <IMX8QXP_USDHC1_CMD_CONN_USDHC1_CMD			0x21>,		/* SODIMM 190 */
			   <IMX8QXP_USDHC1_DATA0_CONN_USDHC1_DATA0		0x21>,		/* SODIMM 192 */
			   <IMX8QXP_USDHC1_DATA1_CONN_USDHC1_DATA1		0x21>,		/* SODIMM  49 */
			   <IMX8QXP_USDHC1_DATA2_CONN_USDHC1_DATA2		0x21>,		/* SODIMM  51 */
			   <IMX8QXP_USDHC1_DATA3_CONN_USDHC1_DATA3		0x21>,		/* SODIMM  53 */
			   <IMX8QXP_USDHC1_VSELECT_CONN_USDHC1_VSELECT		0x21>;
	};

	pinctrl_usdhc2_200mhz: usdhc2-200mhzgrp {
		fsl,pins = <IMX8QXP_USDHC1_CLK_CONN_USDHC1_CLK			0x06000041>,	/* SODIMM  47 */
			   <IMX8QXP_USDHC1_CMD_CONN_USDHC1_CMD			0x21>,		/* SODIMM 190 */
			   <IMX8QXP_USDHC1_DATA0_CONN_USDHC1_DATA0		0x21>,		/* SODIMM 192 */
			   <IMX8QXP_USDHC1_DATA1_CONN_USDHC1_DATA1		0x21>,		/* SODIMM  49 */
			   <IMX8QXP_USDHC1_DATA2_CONN_USDHC1_DATA2		0x21>,		/* SODIMM  51 */
			   <IMX8QXP_USDHC1_DATA3_CONN_USDHC1_DATA3		0x21>,		/* SODIMM  53 */
			   <IMX8QXP_USDHC1_VSELECT_CONN_USDHC1_VSELECT		0x21>;
	};

	pinctrl_usdhc2_sleep: usdhc2slpgrp {
		fsl,pins = <IMX8QXP_USDHC1_CLK_LSIO_GPIO4_IO23			0x60>,		/* SODIMM  47 */
			   <IMX8QXP_USDHC1_CMD_LSIO_GPIO4_IO24			0x60>,		/* SODIMM 190 */
			   <IMX8QXP_USDHC1_DATA0_LSIO_GPIO4_IO25		0x60>,		/* SODIMM 192 */
			   <IMX8QXP_USDHC1_DATA1_LSIO_GPIO4_IO26		0x60>,		/* SODIMM  49 */
			   <IMX8QXP_USDHC1_DATA2_LSIO_GPIO4_IO27		0x60>,		/* SODIMM  51 */
			   <IMX8QXP_USDHC1_DATA3_LSIO_GPIO4_IO28		0x60>,		/* SODIMM  53 */
			   <IMX8QXP_USDHC1_VSELECT_CONN_USDHC1_VSELECT		0x21>;
	};

	pinctrl_wifi: wifigrp {
		fsl,pins = <IMX8QXP_SCU_BOOT_MODE3_SCU_DSC_RTC_CLOCK_OUTPUT_32K	0x20>;
	};
};

/* Delete peripherals which are not present on SOC, but are defined in imx8-ss-*.dtsi */

/delete-node/ &adc1;
/delete-node/ &adc1_lpcg;
/delete-node/ &dsp;
/delete-node/ &dsp_lpcg;
